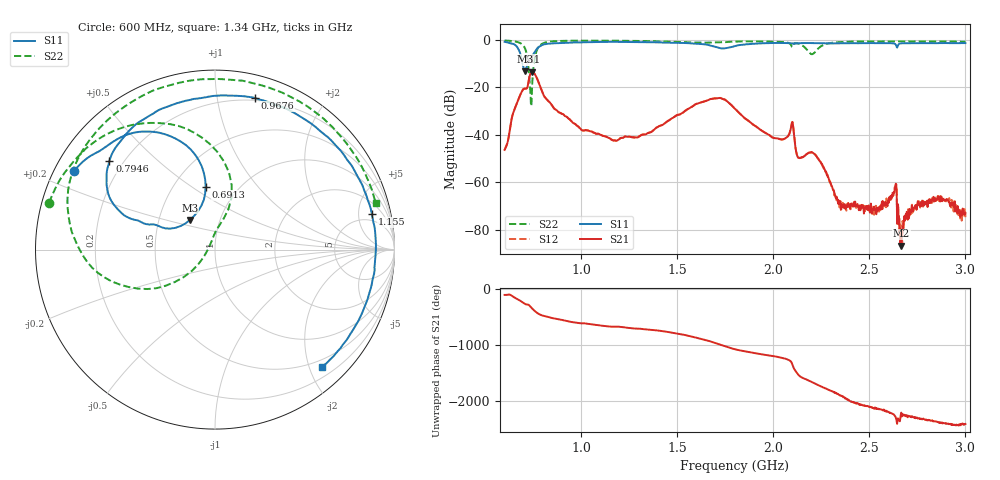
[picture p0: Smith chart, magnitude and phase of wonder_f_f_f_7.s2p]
#  HZ  S  RI  R  50.00
! Rohde & Schwarz ZVB8 2Ports - Version 2.81 - 1145.1010k08 SN: 100113
! Date: 2016-05-12 03:17:16
! Measurements: S11 S21 S12 S22
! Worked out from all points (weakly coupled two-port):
!   1000 points, 600 MHz to 3 GHz, reference 50 ohm
!   highest |S21| = -13.56 dB at 744.1 MHz (marker M1); lowest = -86.8 dB at 2.666 GHz (marker M2)
!   lowest |S11| = -13.3 dB at 705.7 MHz (marker M3), VSWR 1.55, Z = 35.9 + j12.4 ohm
!   |S11| at or under -10 dB: 693.8 MHz to 719.7 MHz (25.85 MHz wide, 3.66 % of centre)
!   |S22| runs from -28.0 to -0.4 dB; largest |S21 - S12| = 0.0025
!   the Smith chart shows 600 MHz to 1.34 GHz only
!   S11 on the Smith chart (normalised r, x): 600 MHz: 0.06, +0.26; 691.3 MHz: 0.71, +0.57; 794.6 MHz: 0.15, +0.36; 967.6 MHz: 0.18, +1.28; 1.155 GHz: 3.56, +7.16; 1.34 GHz: 0.36, -2.20
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6e8  -0.7868 0.4381  -0.00177 -0.00443  -0.00182 -0.00437  -0.9242 0.261
6.912913e8  -0.0522 0.3501  -0.0429 0.0711  -0.0435 0.0705  -0.3644 0.7057
7.057057e8  -0.1402 0.1649  0.00245 0.093  0.00328 0.093  -0.1171 0.6517
7.441441e8  -0.4298 0.1625  0.2096 0.0124  0.2092 0.012  -0.0944 -0.0836
7.945946e8  -0.5883 0.4956  -0.0379 -0.0726  -0.0376 -0.0729  -0.8049 0.1263
9.675676e8  0.223 0.8444  -0.00717 0.0151  -0.00712 0.0151  -0.294 0.9039
1.001201e9  0.3883 0.7892  -0.00235 0.0123  -0.00242 0.0122  -0.1524 0.9393
1.154955e9  0.8734 0.1987  0.006 0.00518  0.00593 0.00522  0.4609 0.8309
1.33994e9  0.5935 -0.6566  0.0103 -0.00139  0.0103 -0.00138  0.8954 0.2597
1.4e9  0.345 -0.8041  0.0128 -0.00721  0.0129 -0.00718  0.923 0.0242
1.678679e9  -0.6341 -0.3812  -0.0359 0.0436  -0.036 0.0436  0.4665 -0.7333
1.801201e9  -0.7059 -0.1984  0.0345 -0.00218  0.0346 -0.00226  0.1368 -0.8997
2.072673e9  -0.4509 0.7166  -0.00897 0.000532  -0.00899 0.000528  -0.6483 -0.5738
2.096697e9  -0.3607 0.7505  -0.00428 0.0174  -0.00437 0.0174  -0.5599 -0.4272
2.135135e9  -0.2443 0.8058  -0.00144 -0.00287  -0.00145 -0.00286  -0.7001 -0.4066
2.2e9  0.021 0.845  -0.00279 0.00328  -0.00279 0.00318  -0.4137 -0.2686
2.346547e9  0.5534 0.6268  -0.000119 -0.000329  -3.92e-05 -0.000301  -0.8267 -0.3284
2.601201e9  0.7478 -0.3883  0.000247 -0.000273  0.000281 -0.000249  -0.8689 0.298
2.63003e9  0.6517 -0.5048  -0.000103 -0.000605  -0.00015 -0.000667  -0.8477 0.3594
2.666066e9  0.6176 -0.5615  2.61e-05 -3.77e-05  -6.17e-05 -4.58e-05  -0.8101 0.4316
2.865465e9  -0.122 -0.8341  -0.000299 0.000319  -0.000339 0.000364  -0.4922 0.7704
3e9  -0.5537 -0.639  -4.78e-05 0.000217  -6.87e-05 0.00017  -0.1825 0.8845
